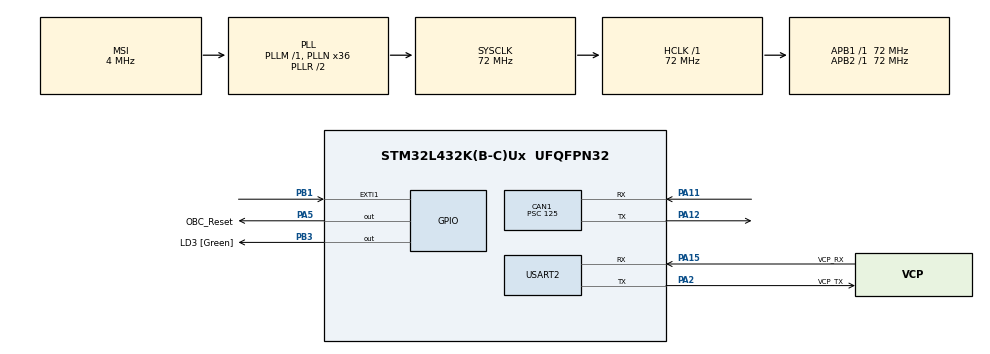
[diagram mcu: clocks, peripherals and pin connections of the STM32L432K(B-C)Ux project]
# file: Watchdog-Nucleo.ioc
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Mcu.Family=STM32L4
RCC.MSI_VALUE=4000000
PA14\ (JTCK-SWCLK).Mode=Serial_Wire
CAN1.NART=ENABLE
RCC.CortexFreq_Value=72000000
CAN1.TXFP=ENABLE
CAN1.CalculateBaudRate=38400
PA11.Mode=CAN_Activate
PA15\ (JTDI).Signal=USART2_RX
PA14\ (JTCK-SWCLK).GPIO_Label=SWCLK
PB3\ (JTDO-TRACESWO).GPIO_Label=LD3 [Green]
PA5.PinState=GPIO_PIN_SET
RCC.SYSCLKSource=RCC_SYSCLKSOURCE_PLLCLK
ProjectManager.StackSize=0x400
PB3\ (JTDO-TRACESWO).Signal=GPIO_Output
PA14\ (JTCK-SWCLK).Signal=SYS_JTCK-SWCLK
RCC.HSI16_VALUE=16000000
PA15\ (JTDI).Mode=Asynchronous
NVIC.EXTI1_IRQn=true\:1\:0\:true\:false\:true\:true\:true
PA12.Signal=CAN1_TX
CAN1.BS2=CAN_BS2_2TQ
CAN1.BS1=CAN_BS1_12TQ
ProjectManager.TargetToolchain=STM32CubeIDE
NVIC.CAN1_TX_IRQn=true\:0\:0\:false\:false\:true\:true\:true
RCC.HCLKFreq_Value=72000000
RCC.APB2TimFreq_Value=72000000
PB1.GPIO_ModeDefaultEXTI=GPIO_MODE_IT_RISING_FALLING
RCC.LSE_VALUE=32768
RCC.AHBFreq_Value=72000000
PA5.Signal=GPIO_Output
RCC.HSE_VALUE=8000000
board=NUCLEO-L432KC
USART2.VirtualMode-Asynchronous=VM_ASYNC
RCC.VCOOutputFreq_Value=144000000
RCC.PLLMUL=RCC_PLLMUL_4
RCC.APB2Freq_Value=72000000
PA13\ (JTMS-SWDIO).GPIO_Label=SWDIO
VP_TIM2_VS_ClockSourceINT.Mode=Internal
PA5.GPIO_PuPd=GPIO_PULLUP
NVIC.TIM2_IRQn=true\:1\:0\:true\:false\:true\:true\:true
TIM2.Period=36000-1
PA15\ (JTDI).GPIO_Label=VCP_RX
Mcu.Name=STM32L432K(B-C)Ux
PA2.Signal=USART2_TX
PA13\ (JTMS-SWDIO).Mode=Serial_Wire
RCC.SYSCLKFreq_VALUE=72000000
CAN1.Prescaler=125
Mcu.Package=UFQFPN32
TIM2.Prescaler=20000-1
PB1.Signal=GPXTI1
PA12.Mode=CAN_Activate
PA5.GPIO_Label=OBC_Reset
PA2.GPIO_Label=VCP_TX
PA11.Signal=CAN1_RX
ProjectManager.HeapSize=0x200
RCC.HSI_VALUE=16000000
NVIC.PriorityGroup=NVIC_PRIORITYGROUP_4
RCC.PLLN=36
RCC.APB1TimFreq_Value=72000000
PA2.Mode=Asynchronous
TIM2.AutoReloadPreload=TIM_AUTORELOAD_PRELOAD_ENABLE
PA13\ (JTMS-SWDIO).Signal=SYS_JTMS-SWDIO
RCC.APB1Freq_Value=72000000
CAN1.CalculateTimeBit=26041.66
NVIC.CAN1_RX0_IRQn=true\:0\:0\:false\:false\:true\:true\:true
RCC.HSI48_VALUE=48000000
CAN1.CalculateTimeQuantum=1736.111111111111

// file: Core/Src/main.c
/* USER CODE BEGIN Header */
/**
  ******************************************************************************
  * @file           : main.c
  * @brief          : Main program body
  ******************************************************************************
  * @attention
  *
  * <h2><center>&copy; Copyright (c) 2021 STMicroelectronics.
  * All rights reserved.</center></h2>
  *
  * This software component is licensed by ST under BSD 3-Clause license,
  * the "License"; You may not use this file except in compliance with the
  * License. You may obtain a copy of the License at:
  *                        opensource.org/licenses/BSD-3-Clause
  *
  ******************************************************************************
  */
/* USER CODE END Header */
#include "main.h"

/* USER CODE BEGIN PD */
#define PACKAGE_SIZE 8
#define WATCHDOG_ID 160
/* USER CODE END PD */

CAN_HandleTypeDef hcan1;

TIM_HandleTypeDef htim2;

UART_HandleTypeDef huart2;

/* USER CODE BEGIN PV */
CAN_TxHeaderTypeDef CanTxHeader;
CAN_RxHeaderTypeDef CanRxHeader;
CAN_FilterTypeDef CanFilter;

/* USER CODE END PV */

void SystemClock_Config(void);
static void MX_GPIO_Init(void);
static void MX_USART2_UART_Init(void);
static void MX_TIM2_Init(void);
static void MX_CAN1_Init(void);

int main(void)
{

  /* MCU Configuration--------------------------------------------------------*/

  /* Reset of all peripherals, Initializes the Flash interface and the Systick. */
  HAL_Init();

  /* Configure the system clock */
  SystemClock_Config();

  /* Initialize all configured peripherals */
  MX_GPIO_Init();
  MX_USART2_UART_Init();
  MX_TIM2_Init();
  MX_CAN1_Init();
  /* USER CODE BEGIN 2 */
  TIM2->CNT = 0;
  HAL_TIM_Base_Start_IT(&htim2);
  /* USER CODE END 2 */

  /* Infinite loop */
  while (1)
  {

  }
}

void SystemClock_Config(void)
{
  RCC_OscInitTypeDef RCC_OscInitStruct = {0};
  RCC_ClkInitTypeDef RCC_ClkInitStruct = {0};
  RCC_PeriphCLKInitTypeDef PeriphClkInit = {0};

  /** Initializes the RCC Oscillators according to the specified parameters
  * in the RCC_OscInitTypeDef structure.
  */
  RCC_OscInitStruct.OscillatorType = RCC_OSCILLATORTYPE_MSI;
  RCC_OscInitStruct.MSIState = RCC_MSI_ON;
  RCC_OscInitStruct.MSICalibrationValue = 0;
  RCC_OscInitStruct.MSIClockRange = RCC_MSIRANGE_6;
  RCC_OscInitStruct.PLL.PLLState = RCC_PLL_ON;
  RCC_OscInitStruct.PLL.PLLSource = RCC_PLLSOURCE_MSI;
  RCC_OscInitStruct.PLL.PLLM = 1;
  RCC_OscInitStruct.PLL.PLLN = 36;
  RCC_OscInitStruct.PLL.PLLP = RCC_PLLP_DIV7;
  RCC_OscInitStruct.PLL.PLLQ = RCC_PLLQ_DIV2;
  RCC_OscInitStruct.PLL.PLLR = RCC_PLLR_DIV2;
  if (HAL_RCC_OscConfig(&RCC_OscInitStruct) != HAL_OK)
  {
    Error_Handler();
  }
  /** Initializes the CPU, AHB and APB buses clocks
  */
  RCC_ClkInitStruct.ClockType = RCC_CLOCKTYPE_HCLK|RCC_CLOCKTYPE_SYSCLK
                              |RCC_CLOCKTYPE_PCLK1|RCC_CLOCKTYPE_PCLK2;
  RCC_ClkInitStruct.SYSCLKSource = RCC_SYSCLKSOURCE_PLLCLK;
  RCC_ClkInitStruct.AHBCLKDivider = RCC_SYSCLK_DIV1;
  RCC_ClkInitStruct.APB1CLKDivider = RCC_HCLK_DIV1;
  RCC_ClkInitStruct.APB2CLKDivider = RCC_HCLK_DIV1;

  if (HAL_RCC_ClockConfig(&RCC_ClkInitStruct, FLASH_LATENCY_4) != HAL_OK)
  {
    Error_Handler();
  }
  PeriphClkInit.PeriphClockSelection = RCC_PERIPHCLK_USART2;
  PeriphClkInit.Usart2ClockSelection = RCC_USART2CLKSOURCE_PCLK1;
  if (HAL_RCCEx_PeriphCLKConfig(&PeriphClkInit) != HAL_OK)
  {
    Error_Handler();
  }
  /** Configure the main internal regulator output voltage
  */
  if (HAL_PWREx_ControlVoltageScaling(PWR_REGULATOR_VOLTAGE_SCALE1) != HAL_OK)
  {
    Error_Handler();
  }
}

static void MX_CAN1_Init(void)
{

  /* USER CODE BEGIN CAN1_Init 0 */
	    CanTxHeader.DLC = PACKAGE_SIZE;                        // Der kommer 8 byte som data i beskeden
	    CanTxHeader.ExtId = 0x00000000;                        // 32 bit ID (29 er identifier)
	    CanTxHeader.IDE = CAN_ID_EXT;                            // Vi har et extended ID = 32 bit til forskel fra standard på 16 bit (11 er identifier)
	    CanTxHeader.RTR = CAN_RTR_DATA;                        // Vi sender data
	    CanTxHeader.TransmitGlobalTime = DISABLE;                // Der skal IKKE sendes et timestamp med hver besked

  /* USER CODE END CAN1_Init 0 */

  /* USER CODE BEGIN CAN1_Init 1 */
	__HAL_RCC_CAN1_CLK_ENABLE();

  /* USER CODE END CAN1_Init 1 */
  hcan1.Instance = CAN1;
  hcan1.Init.Prescaler = 125;
  hcan1.Init.Mode = CAN_MODE_NORMAL;
  hcan1.Init.SyncJumpWidth = CAN_SJW_1TQ;
  hcan1.Init.TimeSeg1 = CAN_BS1_12TQ;
  hcan1.Init.TimeSeg2 = CAN_BS2_2TQ;
  hcan1.Init.TimeTriggeredMode = DISABLE;
  hcan1.Init.AutoBusOff = DISABLE;
  hcan1.Init.AutoWakeUp = DISABLE;
  hcan1.Init.AutoRetransmission = ENABLE;
  hcan1.Init.ReceiveFifoLocked = DISABLE;
  hcan1.Init.TransmitFifoPriority = ENABLE;
  if (HAL_CAN_Init(&hcan1) != HAL_OK)
  {
    Error_Handler();
  }
  /* USER CODE BEGIN CAN1_Init 2 */

  /*##-3- Start the CAN peripheral ###########################################*/
  if (HAL_CAN_Start(&hcan1) != HAL_OK)
  {
      /* Start Error */
      Error_Handler();
  }

  /* USER CODE END CAN1_Init 2 */

}

static void MX_TIM2_Init(void)
{

  TIM_ClockConfigTypeDef sClockSourceConfig = {0};
  TIM_MasterConfigTypeDef sMasterConfig = {0};

  htim2.Instance = TIM2;
  htim2.Init.Prescaler = 20000-1;
  htim2.Init.CounterMode = TIM_COUNTERMODE_UP;
  htim2.Init.Period = 36000-1;
  htim2.Init.ClockDivision = TIM_CLOCKDIVISION_DIV1;
  htim2.Init.AutoReloadPreload = TIM_AUTORELOAD_PRELOAD_ENABLE;
  if (HAL_TIM_Base_Init(&htim2) != HAL_OK)
  {
    Error_Handler();
  }
  sClockSourceConfig.ClockSource = TIM_CLOCKSOURCE_INTERNAL;
  if (HAL_TIM_ConfigClockSource(&htim2, &sClockSourceConfig) != HAL_OK)
  {
    Error_Handler();
  }
  sMasterConfig.MasterOutputTrigger = TIM_TRGO_RESET;
  sMasterConfig.MasterSlaveMode = TIM_MASTERSLAVEMODE_DISABLE;
  if (HAL_TIMEx_MasterConfigSynchronization(&htim2, &sMasterConfig) != HAL_OK)
  {
    Error_Handler();
  }

}

static void MX_USART2_UART_Init(void)
{

  huart2.Instance = USART2;
  huart2.Init.BaudRate = 115200;
  huart2.Init.WordLength = UART_WORDLENGTH_8B;
  huart2.Init.StopBits = UART_STOPBITS_1;
  huart2.Init.Parity = UART_PARITY_NONE;
  huart2.Init.Mode = UART_MODE_TX_RX;
  huart2.Init.HwFlowCtl = UART_HWCONTROL_NONE;
  huart2.Init.OverSampling = UART_OVERSAMPLING_16;
  huart2.Init.OneBitSampling = UART_ONE_BIT_SAMPLE_DISABLE;
  huart2.AdvancedInit.AdvFeatureInit = UART_ADVFEATURE_NO_INIT;
  if (HAL_UART_Init(&huart2) != HAL_OK)
  {
    Error_Handler();
  }

}

static void MX_GPIO_Init(void)
{
  GPIO_InitTypeDef GPIO_InitStruct = {0};

  /* GPIO Ports Clock Enable */
  __HAL_RCC_GPIOA_CLK_ENABLE();
  __HAL_RCC_GPIOB_CLK_ENABLE();

  /*Configure GPIO pin Output Level */
  HAL_GPIO_WritePin(OBC_Reset_GPIO_Port, OBC_Reset_Pin, GPIO_PIN_SET);

  /*Configure GPIO pin Output Level */
  HAL_GPIO_WritePin(LD3_GPIO_Port, LD3_Pin, GPIO_PIN_RESET);

  /*Configure GPIO pin : OBC_Reset_Pin */
  GPIO_InitStruct.Pin = OBC_Reset_Pin;
  GPIO_InitStruct.Mode = GPIO_MODE_OUTPUT_PP;
  GPIO_InitStruct.Pull = GPIO_PULLUP;
  GPIO_InitStruct.Speed = GPIO_SPEED_FREQ_LOW;
  HAL_GPIO_Init(OBC_Reset_GPIO_Port, &GPIO_InitStruct);

  /*Configure GPIO pin : PB1 */
  GPIO_InitStruct.Pin = GPIO_PIN_1;
  GPIO_InitStruct.Mode = GPIO_MODE_IT_RISING_FALLING;
  GPIO_InitStruct.Pull = GPIO_NOPULL;
  HAL_GPIO_Init(GPIOB, &GPIO_InitStruct);

  /*Configure GPIO pin : LD3_Pin */
  GPIO_InitStruct.Pin = LD3_Pin;
  GPIO_InitStruct.Mode = GPIO_MODE_OUTPUT_PP;
  GPIO_InitStruct.Pull = GPIO_NOPULL;
  GPIO_InitStruct.Speed = GPIO_SPEED_FREQ_LOW;
  HAL_GPIO_Init(LD3_GPIO_Port, &GPIO_InitStruct);

  /* EXTI interrupt init*/
  HAL_NVIC_SetPriority(EXTI1_IRQn, 1, 0);
  HAL_NVIC_EnableIRQ(EXTI1_IRQn);

}

/* USER CODE BEGIN 4 */
int messageSplitter(uint8_t *sourceArray, uint8_t *destinationArray, uint8_t position)
{

	for(int i=0 ; i < PACKAGE_SIZE; i++)
	{
		*(destinationArray + i) = *(sourceArray + (position * 8) + i);

}
return 1;
}

void sendData(CAN_HandleTypeDef *handler, uint32_t TxID, uint16_t numOfBytes, uint8_t *dataArray, CAN_TxHeaderTypeDef *transmitHeader) {
	uint8_t dataToMB[PACKAGE_SIZE] = {0};
	uint32_t randoMailBox;
	transmitHeader->ExtId = TxID;

if (numOfBytes % PACKAGE_SIZE == 0)
{
	for (int i = 0; i < numOfBytes/PACKAGE_SIZE; i++) {
		while (HAL_CAN_GetTxMailboxesFreeLevel(handler) == 0) {}
		if (messageSplitter(dataArray, dataToMB, i)) {
			if (HAL_CAN_AddTxMessage(handler, transmitHeader, dataToMB, &randoMailBox) != HAL_OK) {
				Error_Handler();
			}
		}
	}

}
else {return;}

}

void Watchdog_Handler(){
	uint8_t fejlArray[8] = {1, 1, 1, 1, 1, 1, 1, 1, 1};
	sendData(&hcan1, WATCHDOG_ID, 8, fejlArray, &CanTxHeader);
	HAL_GPIO_WritePin(OBC_Reset_GPIO_Port, OBC_Reset_Pin, GPIO_PIN_RESET);
	HAL_Delay(100);
	HAL_GPIO_WritePin(OBC_Reset_GPIO_Port, OBC_Reset_Pin, GPIO_PIN_SET);
	htim2.Instance->CNT = 0;

}

/* USER CODE END 4 */

void Error_Handler(void)
{
  __disable_irq();
  while (1)
  {
  }
}

/************************ (C) COPYRIGHT STMicroelectronics *****END OF FILE****/
